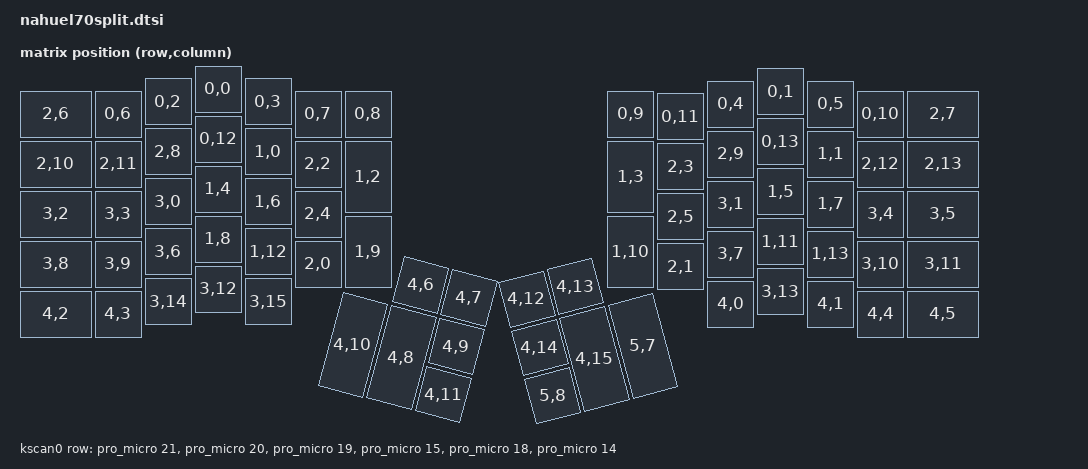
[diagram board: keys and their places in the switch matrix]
#include <physical_layouts.dtsi>
#include <dt-bindings/zmk/matrix_transform.h>

/ {

    chosen {
        zmk,kscan = &kscan0;
        zmk,physical-layout = &physical_layout_0;
    };

    default_transform: keymap_transform0{
        compatible = "zmk,matrix-transform";

        columns = <16>;
        rows = <6>;
        map = <
        RC(0,0) RC(0,1) RC(0,2) RC(0,3) RC(0,4) RC(0,5) RC(0,6)                     RC(0,7) RC(0,8) RC(0,9) RC(0,10) RC(0,11) RC(0,12) RC(0,13)
        RC(1,0) RC(1,1) RC(1,2) RC(1,3) RC(1,4) RC(1,5) RC(1,6)                     RC(1,7) RC(1,8) RC(1,9) RC(1,10) RC(1,11) RC(1,12) RC(1,13)
        RC(2,0) RC(2,1) RC(2,2) RC(2,3) RC(2,4) RC(2,5) RC(2,6)                     RC(2,7) RC(2,8) RC(2,9) RC(2,10) RC(2,11) RC(2,12) RC(2,13)
        RC(3,0) RC(3,1) RC(3,2) RC(3,3) RC(3,4) RC(3,5) RC(3,6) RC(3,7)     RC(3,8) RC(3,9) RC(3,10) RC(3,11) RC(3,12) RC(3,13) RC(3,14) RC(3,15)
        RC(4,0) RC(4,1) RC(4,2) RC(4,3) RC(4,4) RC(4,5) RC(4,6) RC(4,7)     RC(4,8) RC(4,9) RC(4,10) RC(4,11) RC(4,12) RC(4,13) RC(4,14) RC(4,15)
                                                                RC(5,7)     RC(5,8)
        >;
    };

    kscan0: kscan_0 {
        compatible = "zmk,kscan-gpio-matrix";
        diode-direction = "col2row";
        wakeup-source;

        row-gpios
            = <&pro_micro 21 (GPIO_ACTIVE_HIGH | GPIO_PULL_DOWN)> // row 0
            , <&pro_micro 20 (GPIO_ACTIVE_HIGH | GPIO_PULL_DOWN)> // row 1
            , <&pro_micro 19 (GPIO_ACTIVE_HIGH | GPIO_PULL_DOWN)> // row 2
            , <&pro_micro 15 (GPIO_ACTIVE_HIGH | GPIO_PULL_DOWN)> // row 3
            , <&pro_micro 18 (GPIO_ACTIVE_HIGH | GPIO_PULL_DOWN)> // row 4
            , <&pro_micro 14 (GPIO_ACTIVE_HIGH | GPIO_PULL_DOWN)> // row 5
            ;
    };

    physical_layout_0: physical_layout_0 {
        compatible = "zmk,physical-layout";
        display-name = "LAYOUT";
        transform = <&default_transform>;

         keys  //                     w   h    x    y     rot    rx    ry
            = <&key_physical_attrs 100 100  350    0       0     0     0>
            , <&key_physical_attrs 100 100 1475    5       0     0     0>
            , <&key_physical_attrs 100 100  250   25       0     0     0>
            , <&key_physical_attrs 100 100  450   25       0     0     0>
            , <&key_physical_attrs 100 100 1375   30       0     0     0>
            , <&key_physical_attrs 100 100 1575   30       0     0     0>
            , <&key_physical_attrs 100 100  150   50       0     0     0>
            , <&key_physical_attrs 100 100  550   50       0     0     0>
            , <&key_physical_attrs 100 100  650   50       0     0     0>
            , <&key_physical_attrs 100 100 1175   50       0     0     0>
            , <&key_physical_attrs 100 100 1675   50       0     0     0>
            , <&key_physical_attrs 100 100 1275   55       0     0     0>
            , <&key_physical_attrs 100 100  350  100       0     0     0>
            , <&key_physical_attrs 100 100 1475  105       0     0     0>
            , <&key_physical_attrs 100 100  450  125       0     0     0>
            , <&key_physical_attrs 100 100 1575  130       0     0     0>
            , <&key_physical_attrs 100 150  650  150       0     0     0>
            , <&key_physical_attrs 100 150 1175  150       0     0     0>
            , <&key_physical_attrs 100 100  350  200       0     0     0>
            , <&key_physical_attrs 100 100 1475  205       0     0     0>
            , <&key_physical_attrs 100 100  450  225       0     0     0>
            , <&key_physical_attrs 100 100 1575  230       0     0     0>
            , <&key_physical_attrs 100 100  350  300       0     0     0>
            , <&key_physical_attrs 100 150  650  300       0     0     0>
            , <&key_physical_attrs 100 150 1175  300       0     0     0>
            , <&key_physical_attrs 100 100 1475  305       0     0     0>
            , <&key_physical_attrs 100 100  450  325       0     0     0>
            , <&key_physical_attrs 100 100 1575  330       0     0     0>
            , <&key_physical_attrs 100 100  550  350       0     0     0>
            , <&key_physical_attrs 100 100 1275  355       0     0     0>
            , <&key_physical_attrs 100 100  550  150       0    25     0>
            , <&key_physical_attrs 100 100 1275  155       0    25     0>
            , <&key_physical_attrs 100 100  550  250       0    25     0>
            , <&key_physical_attrs 100 100 1275  255       0    25     0>
            , <&key_physical_attrs 150 100    0   50       0   225     0>
            , <&key_physical_attrs 150 100 1775   50       0   225     0>
            , <&key_physical_attrs 100 100  250  125       0   225     0>
            , <&key_physical_attrs 100 100 1375  130       0   225     0>
            , <&key_physical_attrs 150 100    0  150       0   225     0>
            , <&key_physical_attrs 100 100  150  150       0   225     0>
            , <&key_physical_attrs 100 100 1675  150       0   225     0>
            , <&key_physical_attrs 150 100 1775  150       0   225     0>
            , <&key_physical_attrs 100 100  250  225       0   225     0>
            , <&key_physical_attrs 100 100 1375  230       0   225     0>
            , <&key_physical_attrs 150 100    0  250       0   225     0>
            , <&key_physical_attrs 100 100  150  250       0   225     0>
            , <&key_physical_attrs 100 100 1675  250       0   225     0>
            , <&key_physical_attrs 150 100 1775  250       0   225     0>
            , <&key_physical_attrs 100 100  250  325       0   225     0>
            , <&key_physical_attrs 100 100 1375  330       0   225     0>
            , <&key_physical_attrs 150 100    0  350       0   225     0>
            , <&key_physical_attrs 100 100  150  350       0   225     0>
            , <&key_physical_attrs 100 100 1675  350       0   225     0>
            , <&key_physical_attrs 150 100 1775  350       0   225     0>
            , <&key_physical_attrs 100 100  350  400       0   225     0>
            , <&key_physical_attrs 100 100 1475  405       0   225     0>
            , <&key_physical_attrs 100 100  250  425       0   225     0>
            , <&key_physical_attrs 100 100  450  425       0   225     0>
            , <&key_physical_attrs 100 100 1375  430       0   225     0>
            , <&key_physical_attrs 100 100 1575  430       0   225     0>
            , <&key_physical_attrs 150 100    0  450       0   225     0>
            , <&key_physical_attrs 100 100  150  450       0   225     0>
            , <&key_physical_attrs 100 100 1675  450       0   225     0>
            , <&key_physical_attrs 150 100 1775  450       0   225     0>
            , <&key_physical_attrs 100 100  775  355    1500   675   350>
            , <&key_physical_attrs 100 100  875  355    1500   675   350>
            , <&key_physical_attrs 100 200  775  455    1500   675   350>
            , <&key_physical_attrs 100 100  875  455    1500   675   350>
            , <&key_physical_attrs 100 200  675  456    1500   675   350>
            , <&key_physical_attrs 100 100  875  555    1500   675   350>
            , <&key_physical_attrs 100 100  925  505 (-1500)   675   350>
            , <&key_physical_attrs 100 100 1025  505 (-1500)   675   350>
            , <&key_physical_attrs 100 100  925  605 (-1500)   675   350>
            , <&key_physical_attrs 100 200 1025  605 (-1500)   675   350>
            , <&key_physical_attrs 100 200 1125  605 (-1500)   675   350>
            , <&key_physical_attrs 100 100  925  705 (-1500)   675   350>
            ;
    };

    position_map {
        compatible = "zmk,physical-layout-position-map";

        default {
            physical-layout = <&physical_layout_0>;
            positions = <>;
        };
    };
};
